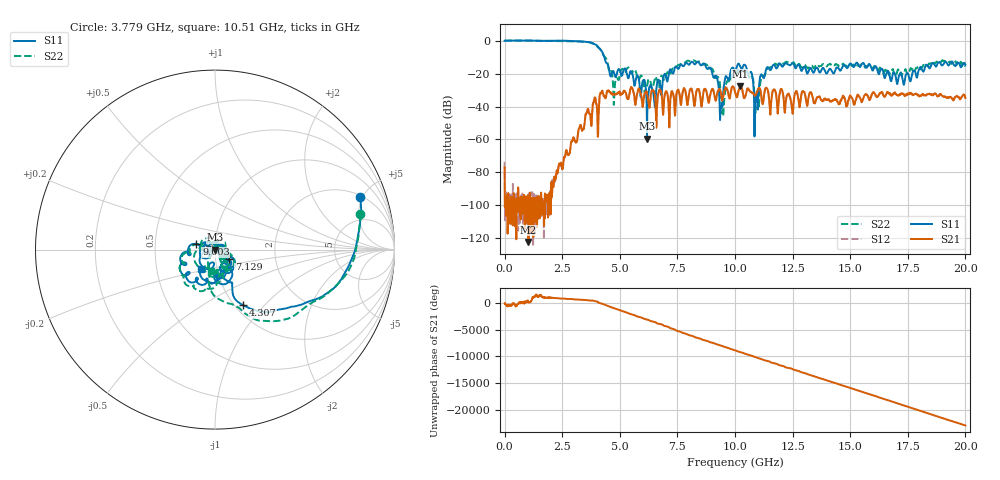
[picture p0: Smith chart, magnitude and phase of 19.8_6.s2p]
#  HZ  S  RI  R  50.00
! Rohde & Schwarz Vector Network Analyzer
! Rohde-Schwarz,ZNB20-2Port,1311601062102128,3.60
! Created: UTC 4/29/2024, 2:59:52 PM
! freq[Hz]  re:S11  im:S11  re:S21  im:S21  re:S12  im:S12  re:S22  im:S22
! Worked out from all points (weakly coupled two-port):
!   2007 points, 100 kHz to 20 GHz, reference 50 ohm
!   highest |S21| = -27.68 dB at 10.23 GHz (marker M1); lowest = -122.3 dB at 1.037 GHz (marker M2)
!   lowest |S11| = -59.4 dB at 6.182 GHz (marker M3), VSWR 1.00, Z = 50.1 - j0.0295 ohm
!   |S11| at or under -10 dB: 4.326 GHz to end of sweep
!   |S22| runs from -45.6 to 0.1 dB; largest |S21 - S12| = 0.002
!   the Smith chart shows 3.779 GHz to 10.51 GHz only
!   S11 on the Smith chart (normalised r, x): 3.779 GHz: 2.08, +4.77; 4.307 GHz: 1.09, -0.76; 7.129 GHz: 1.16, -0.13; 9.003 GHz: 0.81, +0.05; 10.51 GHz: 0.83, -0.18
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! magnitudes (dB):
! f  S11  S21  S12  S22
! 100 kHz  0.0  -76.8  -73.6  0.1
! 1.037 GHz  0.1  -122.3  -99.5  0.0
! 2.213 GHz  -0.1  -83.7  -84.2  -0.3
! 3.34 GHz  -0.6  -53.9  -53.6  -0.6
! 3.779 GHz  -1.3  -50.0  -50.2  -1.6
! 4.307 GHz  -9.2  -33.7  -33.9  -9.2
! 4.776 GHz  -20.7  -32.4  -32.4  -28.8
! 5.364 GHz  -22.8  -35.5  -35.4  -16.3
! 6.182 GHz  -59.4  -31.8  -31.8  -27.4
! 6.67 GHz  -23.7  -32.3  -32.3  -27.2
! 7.129 GHz  -20.4  -42.9  -43.0  -20.3
! 9.003 GHz  -19.3  -29.5  -29.5  -17.0
! 9.382 GHz  -40.6  -31.6  -31.7  -31.6
! 9.472 GHz  -36.9  -35.2  -35.3  -42.4
! 10 GHz  -18.7  -31.1  -31.1  -19.2
! 10.23 GHz  -15.7  -27.7  -27.7  -16.8
! 10.51 GHz  -17.5  -30.3  -30.3  -18.5
! 10.92 GHz  -33.5  -32.5  -32.6  -34.7
! 11.42 GHz  -16.2  -29.8  -29.8  -16.8
! 13.34 GHz  -18.0  -32.7  -32.8  -15.3
! 16.67 GHz  -19.1  -31.8  -31.8  -20.5
! 20 GHz  -14.6  -34.8  -34.9  -14.4
